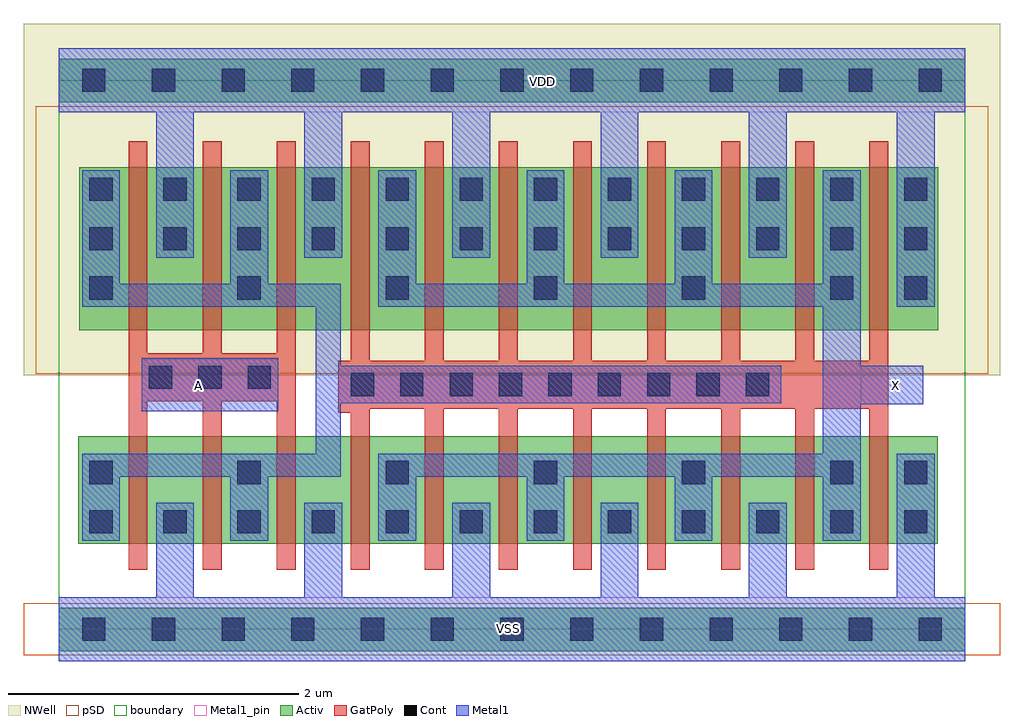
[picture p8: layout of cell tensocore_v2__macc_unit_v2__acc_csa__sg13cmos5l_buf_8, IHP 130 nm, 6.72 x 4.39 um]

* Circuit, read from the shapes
.subckt tensocore_v2__macc_unit_v2__acc_csa__sg13cmos5l_buf_8 A VDD VSS X
XM1 VSS A n1 VSS sg13_lv_nmos w=0.74u l=0.13u m=3
XM2 X n1 VSS VSS sg13_lv_nmos w=0.74u l=0.13u m=8
XM3 VDD A n1 VDD sg13_lv_pmos w=1.12u l=0.13u m=3
XM4 X n1 VDD VDD sg13_lv_pmos w=1.12u l=0.13u m=8
.ends

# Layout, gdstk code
import gdstk
lib = gdstk.Library(unit=1e-6, precision=1e-09)
def R(c, l, rs):  # rectangles x0, y0, x1, y1
    for r in rs: c.add(gdstk.rectangle(r[:2], r[2:], *l))
def A(c, l, x, y, w, h, nx, ny, dx, dy):  # array of equal rectangles
    R(c, l, [(x+i*dx, y+j*dy, x+i*dx+w, y+j*dy+h) for i in range(nx) for j in range(ny)])
def P(c, l, *ps):  # polygons
    for p in ps: c.add(gdstk.Polygon(p, *l))
Activ = (1, 0)
GatPoly = (5, 0)
Cont = (6, 0)
Metal1 = (8, 0)
Metal1_pin = (8, 2)
pSD = (14, 0)
NWell = (31, 0)
boundary = (189, 4)

tensocore_v2__macc_unit_ = lib.new_cell('tensocore_v2__macc_unit_v2__acc_csa__sg13cmos5l_buf_8')
R(tensocore_v2__macc_unit_, Activ, [(0,-0.15,6.24,0.15), (0.135,0.59,6.05,1.33), (0.14,2.06,6.055,3.18), (0,3.63,6.24,3.93)])
P(tensocore_v2__macc_unit_, GatPoly, [(0.48,0.41),(0.48,3.36),(0.61,3.36),(0.61,1.9),(0.99,1.9),(0.99,3.36),(1.12,3.36),(1.12,1.9),(1.5,1.9),(1.5,3.36),(1.63,3.36),(1.63,0.41),(1.5,0.41),(1.5,1.57),(1.12,1.57),(1.12,0.41),(0.99,0.41),(0.99,1.57),(0.61,1.57),(0.61,0.41)],
  [(2.01,0.41),(2.01,1.49),(1.925,1.49),(1.925,1.85),(2.01,1.85),(2.01,3.36),(2.14,3.36),(2.14,1.85),(2.52,1.85),(2.52,3.36),(2.65,3.36),(2.65,1.85),(3.03,1.85),(3.03,3.36),(3.16,3.36),(3.16,1.85),(3.54,1.85),(3.54,3.36),(3.67,3.36),(3.67,1.85),(4.05,1.85),(4.05,3.36),(4.18,3.36),(4.18,1.85),(4.56,1.85),(4.56,3.36),(4.69,3.36),(4.69,1.85),(5.07,1.85),(5.07,3.36),(5.2,3.36),(5.2,1.85),(5.58,1.85),(5.58,3.36),(5.71,3.36),(5.71,0.41),(5.58,0.41),(5.58,1.52),(5.2,1.52),(5.2,0.41),(5.07,0.41),(5.07,1.52),(4.69,1.52),(4.69,0.41),(4.56,0.41),(4.56,1.52),(4.18,1.52),(4.18,0.41),(4.05,0.41),(4.05,1.52),(3.67,1.52),(3.67,0.41),(3.54,0.41),(3.54,1.52),(3.16,1.52),(3.16,0.41),(3.03,0.41),(3.03,1.52),(2.65,1.52),(2.65,0.41),(2.52,0.41),(2.52,1.52),(2.14,1.52),(2.14,0.41)])
A(tensocore_v2__macc_unit_, Cont, 0.21, 0.66, 0.16, 0.16, 12, 2, 0.51, 1.95)
A(tensocore_v2__macc_unit_, Cont, 0.21, 1, 0.16, 0.16, 6, 2, 1.02, 1.27)
A(tensocore_v2__macc_unit_, Cont, 2.01, 1.605, 0.16, 0.16, 9, 1, 0.34, 0)
A(tensocore_v2__macc_unit_, Cont, 0.62, 1.655, 0.16, 0.16, 3, 1, 0.34, 0)
A(tensocore_v2__macc_unit_, Cont, 0.21, 2.95, 0.16, 0.16, 12, 1, 0.51, 0)
R(tensocore_v2__macc_unit_, Cont, [(0.16,-0.08,0.32,0.08), (0.16,-0.08,0.32,0.08), (0.64,-0.08,0.8,0.08), (0.64,-0.08,0.8,0.08), (1.12,-0.08,1.28,0.08), (1.12,-0.08,1.28,0.08), (1.6,-0.08,1.76,0.08), (1.6,-0.08,1.76,0.08), (2.08,-0.08,2.24,0.08), (2.08,-0.08,2.24,0.08), (2.56,-0.08,2.72,0.08), (2.56,-0.08,2.72,0.08), (3.04,-0.08,3.2,0.08), (3.04,-0.08,3.2,0.08), (3.52,-0.08,3.68,0.08), (3.52,-0.08,3.68,0.08), (4,-0.08,4.16,0.08), (4,-0.08,4.16,0.08), (4.48,-0.08,4.64,0.08), (4.48,-0.08,4.64,0.08), (4.96,-0.08,5.12,0.08), (4.96,-0.08,5.12,0.08), (5.44,-0.08,5.6,0.08), (5.44,-0.08,5.6,0.08), (5.92,-0.08,6.08,0.08), (5.92,-0.08,6.08,0.08), (5.82,1,5.98,1.16), (5.82,2.27,5.98,2.43), (0.16,3.7,0.32,3.86), (0.16,3.7,0.32,3.86), (0.64,3.7,0.8,3.86), (0.64,3.7,0.8,3.86), (1.12,3.7,1.28,3.86), (1.12,3.7,1.28,3.86), (1.6,3.7,1.76,3.86), (1.6,3.7,1.76,3.86), (2.08,3.7,2.24,3.86), (2.08,3.7,2.24,3.86), (2.56,3.7,2.72,3.86), (2.56,3.7,2.72,3.86), (3.04,3.7,3.2,3.86), (3.04,3.7,3.2,3.86), (3.52,3.7,3.68,3.86), (3.52,3.7,3.68,3.86), (4,3.7,4.16,3.86), (4,3.7,4.16,3.86), (4.48,3.7,4.64,3.86), (4.48,3.7,4.64,3.86), (4.96,3.7,5.12,3.86), (4.96,3.7,5.12,3.86), (5.44,3.7,5.6,3.86), (5.44,3.7,5.6,3.86), (5.92,3.7,6.08,3.86), (5.92,3.7,6.08,3.86)])
R(tensocore_v2__macc_unit_, Metal1, [(0.57,1.5,1.51,1.865)])
P(tensocore_v2__macc_unit_, Metal1, [(0,-0.22),(0,0.22),(0.67,0.22),(0.67,0.87),(0.93,0.87),(0.93,0.22),(1.69,0.22),(1.69,0.87),(1.95,0.87),(1.95,0.22),(2.71,0.22),(2.71,0.87),(2.97,0.87),(2.97,0.22),(3.73,0.22),(3.73,0.87),(3.99,0.87),(3.99,0.22),(4.75,0.22),(4.75,0.87),(5.01,0.87),(5.01,0.22),(5.77,0.22),(5.77,1.21),(6.03,1.21),(6.03,0.22),(6.24,0.22),(6.24,-0.22)],
  [(5.77,2.22),(5.77,3.56),(5.01,3.56),(5.01,2.56),(4.75,2.56),(4.75,3.56),(3.99,3.56),(3.99,2.56),(3.73,2.56),(3.73,3.56),(2.97,3.56),(2.97,2.56),(2.71,2.56),(2.71,3.56),(1.95,3.56),(1.95,2.56),(1.69,2.56),(1.69,3.56),(0.93,3.56),(0.93,2.56),(0.67,2.56),(0.67,3.56),(0,3.56),(0,4),(6.24,4),(6.24,3.56),(6.03,3.56),(6.03,2.22)],
  [(2.2,0.61),(2.2,1.21),(5.26,1.21),(5.26,2.22),(2.2,2.22),(2.2,3.16),(2.46,3.16),(2.46,2.38),(3.22,2.38),(3.22,3.16),(3.48,3.16),(3.48,2.38),(4.24,2.38),(4.24,3.16),(4.5,3.16),(4.5,2.38),(5.26,2.38),(5.26,3.16),(5.52,3.16),(5.52,1.815),(5.95,1.815),(5.95,1.55),(5.52,1.55),(5.52,0.61),(5.26,0.61),(5.26,1.05),(4.5,1.05),(4.5,0.61),(4.24,0.61),(4.24,1.05),(3.48,1.05),(3.48,0.61),(3.22,0.61),(3.22,1.05),(2.46,1.05),(2.46,0.61)],
  [(0.16,0.61),(0.16,1.21),(1.77,1.21),(1.77,2.22),(0.16,2.22),(0.16,3.16),(0.42,3.16),(0.42,2.38),(1.18,2.38),(1.18,3.16),(1.44,3.16),(1.44,2.38),(1.94,2.38),(1.94,1.815),(4.975,1.815),(4.975,1.555),(1.94,1.555),(1.94,1.05),(1.44,1.05),(1.44,0.61),(1.18,0.61),(1.18,1.05),(0.42,1.05),(0.42,0.61)])
R(tensocore_v2__macc_unit_, Metal1_pin, [(0,-0.22,6.24,0.22), (0.57,1.5,1.51,1.865), (5.52,1.55,5.95,1.815), (0,3.56,6.24,4)])
R(tensocore_v2__macc_unit_, pSD, [(-0.24,-0.18,6.48,0.18), (-0.16,1.76,6.4,3.6)])
R(tensocore_v2__macc_unit_, NWell, [(-0.24,1.75,6.48,4.17)])
R(tensocore_v2__macc_unit_, boundary, [(0,0,6.24,3.78)])
tensocore_v2__macc_unit_.add(gdstk.Label('VSS', (3.095,0.005), layer=8, texttype=25))
tensocore_v2__macc_unit_.add(gdstk.Label('A', (0.96,1.68), layer=8, texttype=25))
tensocore_v2__macc_unit_.add(gdstk.Label('VDD', (3.33,3.775), layer=8, texttype=25))
tensocore_v2__macc_unit_.add(gdstk.Label('X', (5.76,1.68), layer=8, texttype=25))

lib.write_gds('tensocore_v2__macc_unit_v2__acc_csa__sg13cmos5l_buf_8.gds')
